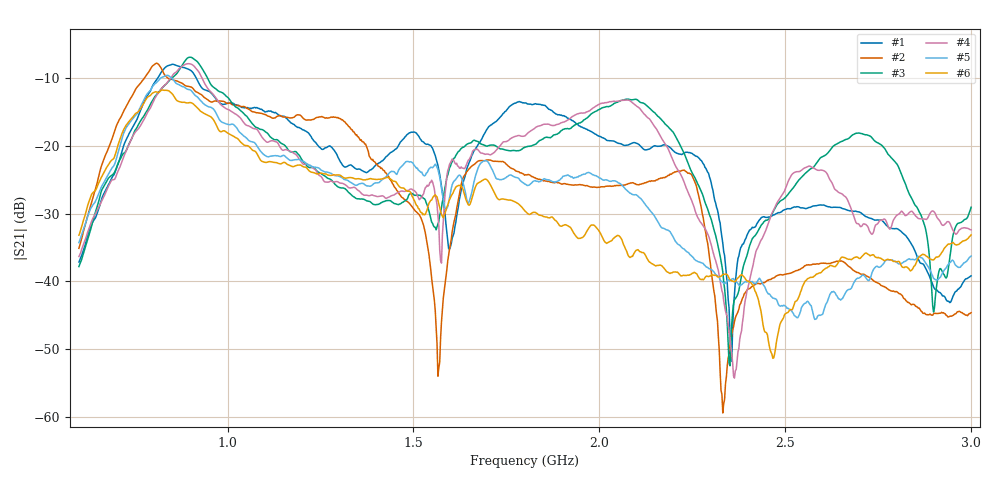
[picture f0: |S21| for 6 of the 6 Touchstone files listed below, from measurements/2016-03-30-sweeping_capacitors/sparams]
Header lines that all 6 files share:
#  HZ  S  RI  R  50.00
! Rohde & Schwarz ZVB8 2Ports - Version 2.81 - 1145.1010k08 SN: 100113
! Measurements: S11 S21 S12 S22
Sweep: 600 MHz to 3 GHz
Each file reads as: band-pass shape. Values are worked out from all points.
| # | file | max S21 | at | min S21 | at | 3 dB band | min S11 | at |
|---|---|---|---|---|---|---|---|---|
| 1 | lasse-side-1.5-pF.s2p | -8.03 dB | 852.3 MHz | -51.7 dB | 2.356 GHz | 801.8 MHz-924.3 MHz | -22.9 dB | 2.19 GHz |
| 2 | lasse-side-3.0-pF.s2p | -7.87 dB | 809 MHz | -59.3 dB | 2.332 GHz | 765.8 MHz-878.7 MHz | -24.8 dB | 1.583 GHz |
| 3 | lasse-top-0.3-pF.s2p | -7.00 dB | 900.3 MHz | -52.4 dB | 2.351 GHz | 852.3 MHz-943.5 MHz | -51.0 dB | 2.188 GHz |
| 4 | lasse-top-0.7-pF.s2p | -7.94 dB | 895.5 MHz | -54.2 dB | 2.363 GHz | 835.4 MHz-938.7 MHz | -28.7 dB | 876.3 MHz |
| 5 | lasse-top-2.0-pF.s2p | -9.65 dB | 837.8 MHz | -45.6 dB | 2.58 GHz | 782.6 MHz-912.3 MHz | -18.3 dB | 1.453 GHz |
| 6 | lasse-top-2.7-pF.s2p | -11.82 dB | 823.4 MHz | -51.3 dB | 2.467 GHz | 763.4 MHz-924.3 MHz | -9.2 dB | 1.424 GHz |
